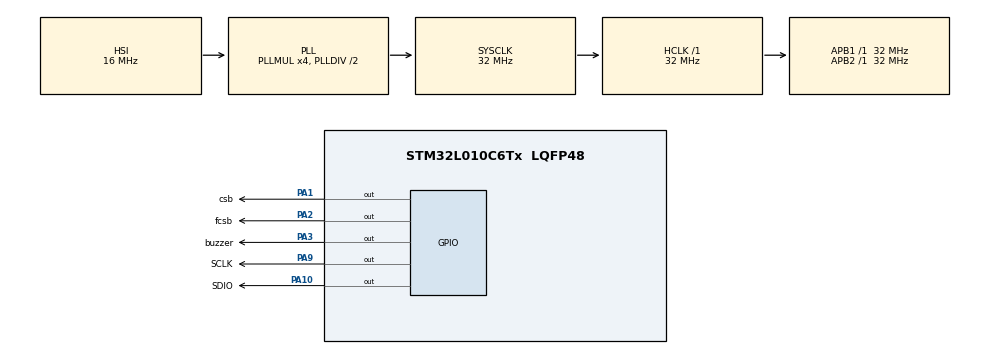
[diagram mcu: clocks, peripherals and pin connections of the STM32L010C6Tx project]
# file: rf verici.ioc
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Mcu.Family=STM32L0
Mcu.Name=STM32L010C6Tx
Mcu.Package=LQFP48
PA1.GPIO_Label=csb
PA1.Signal=GPIO_Output
PA10.GPIO_Label=SDIO
PA10.Signal=GPIO_Output
PA13.Mode=Serial_Wire
PA13.Signal=SYS_SWDIO
PA14.Mode=Serial_Wire
PA14.Signal=SYS_SWCLK
PA2.GPIO_Label=fcsb
PA2.Signal=GPIO_Output
PA3.GPIO_Label=buzzer
PA3.Signal=GPIO_Output
PA9.GPIO_Label=SCLK
PA9.Signal=GPIO_Output
ProjectManager.HeapSize=0x200
ProjectManager.StackSize=0x400
ProjectManager.TargetToolchain=STM32CubeIDE
RCC.AHBFreq_Value=32000000
RCC.APB1Freq_Value=32000000
RCC.APB1TimFreq_Value=32000000
RCC.APB2Freq_Value=32000000
RCC.APB2TimFreq_Value=32000000
RCC.HCLKFreq_Value=32000000
RCC.HSE_VALUE=8000000
RCC.HSI16_VALUE=16000000
RCC.HSI_VALUE=16000000
RCC.LSE_VALUE=32768
RCC.MSI_VALUE=2097000
RCC.PLLMUL=RCC_PLLMUL_4
RCC.SYSCLKFreq_VALUE=32000000
RCC.SYSCLKSource=RCC_SYSCLKSOURCE_PLLCLK
RCC.VCOOutputFreq_Value=64000000
VP_IWDG_VS_IWDG.Mode=IWDG_Activate
board=custom

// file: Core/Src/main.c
/* USER CODE BEGIN Header */
/**
  ******************************************************************************
  * @file           : main.c
  * @brief          : Main program body
  ******************************************************************************
  * @attention
  *
  * <h2><center>&copy; Copyright (c) 2021 STMicroelectronics.
  * All rights reserved.</center></h2>
  *
  * This software component is licensed by ST under BSD 3-Clause license,
  * the "License"; You may not use this file except in compliance with the
  * License. You may obtain a copy of the License at:
  *                        opensource.org/licenses/BSD-3-Clause
  *
  ******************************************************************************
  */
/* USER CODE END Header */
#include "main.h"

/* USER CODE BEGIN Includes */
#include <stm32l0xx_hal.h>
#include "type.h"
#include "spi.h"
#include "CMT2300drive.h"
#include "stdio.h"
#include "TxConfig.h"
#include "RxConfig.h"

static unsigned char statetx = true;  //  false为RX  true为TX
/* USER CODE END Includes */

IWDG_HandleTypeDef hiwdg;

void SystemClock_Config(void);
static void MX_GPIO_Init(void);
static void MX_IWDG_Init(void);

/* USER CODE BEGIN 0 */
#define LEN 21

unsigned char str[LEN] = {"feng rf test!!!!feng!"};
unsigned char getstr[LEN+1];
cmt2300aEasy radio;
void CLK_Init(void);
  void setup_Tx(void);
  void setup_Rx(void);
  void CMT2119B_TxInit();
  void CMT2219B_RxInit();
  void loop_Tx(void);
  void loop_Rx(void);
/* USER CODE END 0 */

int main(void)
{

  /* MCU Configuration--------------------------------------------------------*/

  /* Reset of all peripherals, Initializes the Flash interface and the Systick. */
  HAL_Init();

  /* Configure the system clock */
  SystemClock_Config();

  /* Initialize all configured peripherals */
  MX_GPIO_Init();
  MX_IWDG_Init();
  /* USER CODE BEGIN 2 */
  /*P3M1&=~(1<1);
  	P3M0|=(1<<1);
  	P3M1&=~(1<5);
  	P3M0|=(1<<5);
  	UART_INIT();
  	EA = 1;*/
  	printf("start0!\r\n");

    if(false == statetx )
  	{
  		CMT2219B_RxInit();
  		setup_Rx();
  		while(1)
  		{
  				loop_Rx();
  		}
  	}
    else
  	{
  		CMT2119B_TxInit();
  		setup_Tx();
  		while (1)
  		{
  			 loop_Tx();
  		}
  	}
  /* USER CODE END 2 */

  /* Infinite loop */
  while (1)
  {

  }
}

void SystemClock_Config(void)
{
  RCC_OscInitTypeDef RCC_OscInitStruct = {0};
  RCC_ClkInitTypeDef RCC_ClkInitStruct = {0};

  /** Configure the main internal regulator output voltage
  */
  __HAL_PWR_VOLTAGESCALING_CONFIG(PWR_REGULATOR_VOLTAGE_SCALE1);
  /** Initializes the RCC Oscillators according to the specified parameters
  * in the RCC_OscInitTypeDef structure.
  */
  RCC_OscInitStruct.OscillatorType = RCC_OSCILLATORTYPE_HSI|RCC_OSCILLATORTYPE_LSI;
  RCC_OscInitStruct.HSIState = RCC_HSI_ON;
  RCC_OscInitStruct.HSICalibrationValue = RCC_HSICALIBRATION_DEFAULT;
  RCC_OscInitStruct.LSIState = RCC_LSI_ON;
  RCC_OscInitStruct.PLL.PLLState = RCC_PLL_ON;
  RCC_OscInitStruct.PLL.PLLSource = RCC_PLLSOURCE_HSI;
  RCC_OscInitStruct.PLL.PLLMUL = RCC_PLLMUL_4;
  RCC_OscInitStruct.PLL.PLLDIV = RCC_PLLDIV_2;
  if (HAL_RCC_OscConfig(&RCC_OscInitStruct) != HAL_OK)
  {
    Error_Handler();
  }
  /** Initializes the CPU, AHB and APB buses clocks
  */
  RCC_ClkInitStruct.ClockType = RCC_CLOCKTYPE_HCLK|RCC_CLOCKTYPE_SYSCLK
                              |RCC_CLOCKTYPE_PCLK1|RCC_CLOCKTYPE_PCLK2;
  RCC_ClkInitStruct.SYSCLKSource = RCC_SYSCLKSOURCE_PLLCLK;
  RCC_ClkInitStruct.AHBCLKDivider = RCC_SYSCLK_DIV1;
  RCC_ClkInitStruct.APB1CLKDivider = RCC_HCLK_DIV1;
  RCC_ClkInitStruct.APB2CLKDivider = RCC_HCLK_DIV1;

  if (HAL_RCC_ClockConfig(&RCC_ClkInitStruct, FLASH_LATENCY_1) != HAL_OK)
  {
    Error_Handler();
  }
}

static void MX_IWDG_Init(void)
{

  hiwdg.Instance = IWDG;
  hiwdg.Init.Prescaler = IWDG_PRESCALER_4;
  hiwdg.Init.Window = 4095;
  hiwdg.Init.Reload = 4095;
  if (HAL_IWDG_Init(&hiwdg) != HAL_OK)
  {
    Error_Handler();
  }

}

static void MX_GPIO_Init(void)
{
  GPIO_InitTypeDef GPIO_InitStruct = {0};

  /* GPIO Ports Clock Enable */
  __HAL_RCC_GPIOA_CLK_ENABLE();

  /*Configure GPIO pin Output Level */
  HAL_GPIO_WritePin(GPIOA, csb_Pin|fcsb_Pin|buzzer_Pin|SCLK_Pin
                          |SDIO_Pin, GPIO_PIN_RESET);

  /*Configure GPIO pins : csb_Pin fcsb_Pin buzzer_Pin SCLK_Pin
                           SDIO_Pin */
  GPIO_InitStruct.Pin = csb_Pin|fcsb_Pin|buzzer_Pin|SCLK_Pin
                          |SDIO_Pin;
  GPIO_InitStruct.Mode = GPIO_MODE_OUTPUT_PP;
  GPIO_InitStruct.Pull = GPIO_NOPULL;
  GPIO_InitStruct.Speed = GPIO_SPEED_FREQ_LOW;
  HAL_GPIO_Init(GPIOA, &GPIO_InitStruct);

}

/* USER CODE BEGIN 4 */
void CMT2119B_TxInit()
{
	/**********基础设置初始化一次即可*******/
	radio.FixedPktLength    = false;
	radio.PayloadLength     = LEN;
	cmt2300aEasy_vInit();

	cmt2300aEasy_vCfgBank(CMTBank, 12);
	cmt2300aEasy_vCfgBank(SystemBank, 12);
	cmt2300aEasy_vCfgBank(FrequencyBank, 8);
	cmt2300aEasy_vCfgBank(DataRateBank, 24);
	cmt2300aEasy_vCfgBank(BasebandBank, 29);
	cmt2300aEasy_vCfgBank(TXBank, 11);

	cmt2300aEasy_vEnablePLLcheck();
	cmt2300aEasy_bGoSleep();  				//让配置生效
	/**************************************/
}

void CMT2219B_RxInit()
{
	/**********基础设置初始化一次即可*******/
	radio.FixedPktLength    = false;
	radio.PayloadLength     = LEN;
	cmt2300aEasy_vInit();

		cmt2300aEasy_vCfgBank(CMT_Bank, sizeof(CMT_Bank)/sizeof(unsigned short int));
		cmt2300aEasy_vCfgBank(System_Bank, sizeof(System_Bank)/sizeof(unsigned short int));
		cmt2300aEasy_vCfgBank(Frequency_Bank, sizeof(Frequency_Bank)/sizeof(unsigned short int));
		cmt2300aEasy_vCfgBank(Data_Rate_Bank, sizeof(Data_Rate_Bank)/sizeof(unsigned short int));
		cmt2300aEasy_vCfgBank(Baseband_Bank, sizeof(Baseband_Bank)/sizeof(unsigned short int));
		cmt2300aEasy_vCfgBank(Reserve_Bank, sizeof(Reserve_Bank)/sizeof(unsigned short int));
		cmt2300aEasy_vCfgBank(LBD_Bank, sizeof(LBD_Bank)/sizeof(unsigned short int));

	cmt2300aEasy_vEnablePLLcheck();
	cmt2300aEasy_bGoSleep();  				//让配置生效
	/**************************************/
}

void setup_Tx(void)
{

	if(cmt2300aEasy_bGoStandby())//;   //进入配置模式
	{
		printf("bGoStandby ok!\r\n");
	}
	cmt2300aEasy_vEnableAntSwitch(0);  //设置天线切换_IO口切换
	cmt2300aEasy_vGpioFuncCfg(GPIO1_INT2+GPIO2_INT2+GPIO3_INT2); //IO口的映射
	cmt2300aEasy_vIntSrcCfg(INT_FIFO_NMTY_TX, INT_TX_DONE);    //IO口中断的映射
	cmt2300aEasy_vIntSrcEnable(TX_DONE_EN);           //中断使能

	cmt2300aEasy_vClearFIFO();  //清除FIFO
	if(cmt2300aEasy_bGoSleep())//;    //进入睡眠，让配置生效
	{
		printf("bGoSleep ok!\r\n");;
	}

}

void setup_Rx(void)
{
	cmt2300aEasy_bGoStandby();   //进入配置模式
	cmt2300aEasy_vEnableAntSwitch(0); //为 1 时 GPIO1 和 GPIO2 不可用
	//cmt2300aEasy_vGpioFuncCfg(GPIO1_INT1+GPIO2_Dout+GPIO3_DCLK);  //IO口的功能映射

	//cmt2300aEasy_vIntSrcCfg(INT_RSSI_VALID, INT_CRC_PASS);   //GPO3映射成CRC_pass中断，此处如果要用该中断，RFPDK需要配置CRC
	cmt2300aEasy_vIntSrcCfg(INT_PKT_DONE, INT_PKT_DONE);  //GPO3映射成PKT_DONE中断 //IO口中断的映射
	cmt2300aEasy_vIntSrcEnable(PKT_DONE_EN /*+ CRC_PASS_EN*/);          //中断使能

	cmt2300aEasy_vClearFIFO();
	cmt2300aEasy_bGoSleep();           //让配置生效
	cmt2300aEasy_bGoRx();              //for Rx
}

void loop_Tx()
{
	printf("send!\r\n");
	cmt2300aEasy_bSendMessage(str, LEN);
  	//while(GPO3_L());   // 判断GPIO中断 为低等 为高运行下面代码
	cmt2300aEasy_bIntSrcFlagClr();
	cmt2300aEasy_vClearFIFO();
	HAL_Delay(20);
}

unsigned char tmp;
void loop_Rx()
{

	//if(GPO1_H())
	//{
		cmt2300aEasy_bGoStandby();
		tmp = cmt2300aEasy_bGetMessage(getstr);
		printf("recv=%s\r\n",getstr);
		cmt2300aEasy_bIntSrcFlagClr();
		cmt2300aEasy_vClearFIFO();
		cmt2300aEasy_bGoRx();
	//}else
	//{
		printf("nothing!\r\n");
		HAL_Delay(1000);

	//}
}

/* USER CODE END 4 */

void Error_Handler(void)
{
  __disable_irq();
  while (1)
  {
  }
}

/************************ (C) COPYRIGHT STMicroelectronics *****END OF FILE****/
